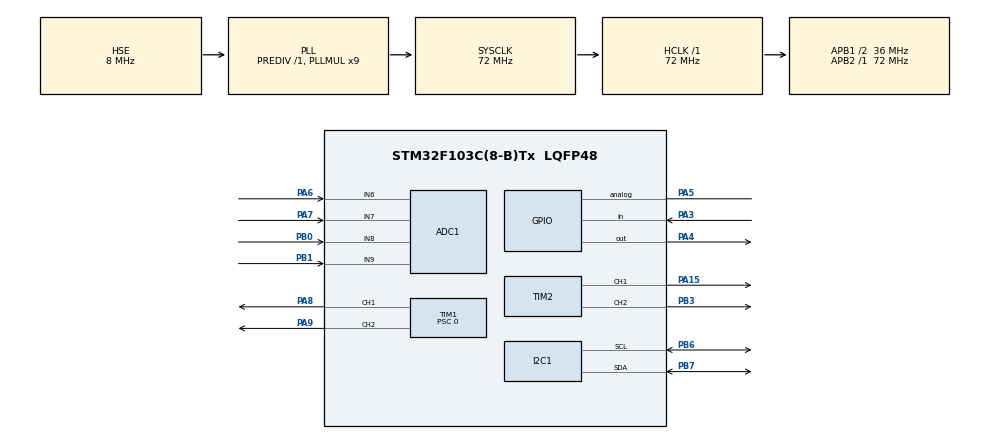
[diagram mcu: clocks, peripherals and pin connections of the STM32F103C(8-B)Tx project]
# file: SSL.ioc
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ADC1.Channel-1\#ChannelRegularConversion=ADC_CHANNEL_9
ADC1.Channel-2\#ChannelRegularConversion=ADC_CHANNEL_7
ADC1.Channel-3\#ChannelRegularConversion=ADC_CHANNEL_7
ADC1.ContinuousConvMode=ENABLE
ADC1.NbrOfConversion=3
ADC1.NbrOfConversionFlag=1
ADC1.Rank-1\#ChannelRegularConversion=1
ADC1.Rank-2\#ChannelRegularConversion=2
ADC1.Rank-3\#ChannelRegularConversion=3
ADC1.SamplingTime-1\#ChannelRegularConversion=ADC_SAMPLETIME_1CYCLE_5
ADC1.SamplingTime-2\#ChannelRegularConversion=ADC_SAMPLETIME_1CYCLE_5
ADC1.SamplingTime-3\#ChannelRegularConversion=ADC_SAMPLETIME_1CYCLE_5
ADC1.master=1
I2C1.GeneralCallMode=I2C_GENERALCALL_DISABLE
I2C1.NoStretchMode=I2C_NOSTRETCH_ENABLE
I2C1.OwnAddress=0
Mcu.Family=STM32F1
Mcu.Name=STM32F103C(8-B)Tx
Mcu.Package=LQFP48
NVIC.I2C1_ER_IRQn=true\:0\:0\:false\:false\:true\:true\:true\:true
NVIC.I2C1_EV_IRQn=true\:0\:0\:false\:false\:true\:true\:true\:true
NVIC.PriorityGroup=NVIC_PRIORITYGROUP_4
PA13.Mode=Serial_Wire
PA13.Signal=SYS_JTMS-SWDIO
PA14.Mode=Serial_Wire
PA14.Signal=SYS_JTCK-SWCLK
PA15.Signal=S_TIM2_CH1_ETR
PA3.Signal=GPIO_Input
PA4.Signal=GPIO_Output
PA5.Signal=GPIO_Analog
PA6.Signal=ADCx_IN6
PA7.Signal=ADCx_IN7
PA8.Signal=S_TIM1_CH1
PA9.Signal=S_TIM1_CH2
PB0.Signal=ADCx_IN8
PB1.Signal=ADCx_IN9
PB3.Signal=S_TIM2_CH2
PB6.Mode=I2C
PB6.Signal=I2C1_SCL
PB7.Mode=I2C
PB7.Signal=I2C1_SDA
PD0-OSC_IN.Mode=HSE-External-Oscillator
PD0-OSC_IN.Signal=RCC_OSC_IN
PD1-OSC_OUT.Mode=HSE-External-Oscillator
PD1-OSC_OUT.Signal=RCC_OSC_OUT
ProjectManager.HeapSize=0x200
ProjectManager.StackSize=0x400
ProjectManager.TargetToolchain=STM32CubeIDE
RCC.ADCPresc=RCC_ADCPCLK2_DIV6
RCC.AHBFreq_Value=72000000
RCC.APB1CLKDivider=RCC_HCLK_DIV2
RCC.APB1Freq_Value=36000000
RCC.APB1TimFreq_Value=72000000
RCC.APB2Freq_Value=72000000
RCC.APB2TimFreq_Value=72000000
RCC.HCLKFreq_Value=72000000
RCC.PLLMUL=RCC_PLL_MUL9
RCC.PLLSourceVirtual=RCC_PLLSOURCE_HSE
RCC.SYSCLKFreq_VALUE=72000000
RCC.SYSCLKSource=RCC_SYSCLKSOURCE_PLLCLK
RCC.USBFreq_Value=72000000
SH.ADCx_IN6.0=ADC1_IN6,IN6
SH.ADCx_IN7.0=ADC1_IN7,IN7
SH.ADCx_IN8.0=ADC1_IN8,IN8
SH.ADCx_IN9.0=ADC1_IN9,IN9
SH.S_TIM1_CH1.0=TIM1_CH1,PWM Generation1 CH1
SH.S_TIM1_CH2.0=TIM1_CH2,PWM Generation2 CH2
SH.S_TIM2_CH1_ETR.0=TIM2_CH1,PWM Generation1 CH1
SH.S_TIM2_CH2.0=TIM2_CH2,PWM Generation2 CH2
TIM1.AutoReloadPreload=TIM_AUTORELOAD_PRELOAD_ENABLE
TIM1.Channel-PWM\ Generation1\ CH1=TIM_CHANNEL_1
TIM1.Channel-PWM\ Generation2\ CH2=TIM_CHANNEL_2
TIM1.Prescaler=0
TIM2.Channel-PWM\ Generation1\ CH1=TIM_CHANNEL_1
TIM2.Channel-PWM\ Generation2\ CH2=TIM_CHANNEL_2
VP_TIM1_VS_ClockSourceINT.Mode=Internal
board=custom

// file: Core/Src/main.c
/* USER CODE BEGIN Header */
/**
  ******************************************************************************
  * @file           : main.c
  * @brief          : Main program body
  ******************************************************************************
  * @attention
  *
  * Copyright (c) 2025 STMicroelectronics.
  * All rights reserved.
  *
  * This software is licensed under terms that can be found in the LICENSE file
  * in the root directory of this software component.
  * If no LICENSE file comes with this software, it is provided AS-IS.
  *
  ******************************************************************************
  */
/* USER CODE END Header */
#include "main.h"

/* USER CODE BEGIN Includes */
#include "stdio.h"
#include "string.h"
/* USER CODE END Includes */

ADC_HandleTypeDef hadc1;

I2C_HandleTypeDef hi2c1;

TIM_HandleTypeDef htim1;
TIM_HandleTypeDef htim2;

/* USER CODE BEGIN PV */
uint16_t readValue;
uint8_t MSG[100];

float voltage_measured1, voltage_measured2, voltage_measured3, voltage_measured4;
float voltage1, voltage2, voltage3, voltage4;
float current;
float Input_votage_range = 3.3; //3.3v stm32
int ADC_range = 4093;

uint8_t data_20[20] = {};
uint8_t data_volt_1[4] = {1,2,3,4};
uint8_t data_volt_2[4] = {};
uint8_t data_volt_3[4] = {};
uint8_t data_volt_4[4] = {};

uint8_t current_uint8;

uint16_t i = 0, AD_RES[4];

/* USER CODE END PV */

void SystemClock_Config(void);
static void MX_GPIO_Init(void);
static void MX_ADC1_Init(void);
static void MX_I2C1_Init(void);
static void MX_TIM1_Init(void);
static void MX_TIM2_Init(void);
/* USER CODE BEGIN PFP */
void I2C1_EV_IRQHandler(void);
void float_to_bytes(float value, uint8_t data[4]);
void ReadAllADCChannels(void);
/* USER CODE END PFP */

/* USER CODE BEGIN 0 */

/* USER CODE BEGIN 0 */

// Function to read a specific ADC channel
uint16_t ReadSingleADCChannel(uint32_t channel)
{
    ADC_ChannelConfTypeDef sConfig = {0};
    uint16_t adcValue = 0;

    // Stop any ongoing conversion
    HAL_ADC_Stop(&hadc1);

    // Configure the channel
    sConfig.Channel = channel;
    sConfig.Rank = ADC_REGULAR_RANK_1;
    sConfig.SamplingTime = ADC_SAMPLETIME_55CYCLES_5; // Increased sampling time for better accuracy

    // Temporarily set to single channel mode
    hadc1.Init.NbrOfConversion = 1;
    hadc1.Init.ScanConvMode = ADC_SCAN_DISABLE;

    if (HAL_ADC_ConfigChannel(&hadc1, &sConfig) != HAL_OK)
    {
        Error_Handler();
    }

    // Start conversion
    if (HAL_ADC_Start(&hadc1) != HAL_OK)
    {
        Error_Handler();
    }

    // Wait for conversion to complete
    if (HAL_ADC_PollForConversion(&hadc1, 100) != HAL_OK)
    {
        Error_Handler();
    }

    // Get the value
    adcValue = HAL_ADC_GetValue(&hadc1);

    // Stop ADC
    HAL_ADC_Stop(&hadc1);

    return adcValue;
}

// Function to read all 3 channels separately
void ReadAllADCChannelsSeparately(void)
{
    // Read each channel individually
    AD_RES[0] = ReadSingleADCChannel(ADC_CHANNEL_6);
    HAL_Delay(1); // Small delay between readings

    AD_RES[1] = ReadSingleADCChannel(ADC_CHANNEL_7);
    HAL_Delay(1);

    AD_RES[2] = ReadSingleADCChannel(ADC_CHANNEL_8);
    HAL_Delay(1);

    AD_RES[3] = ReadSingleADCChannel(ADC_CHANNEL_9);

    // Process the readings
    ProcessADCReadings();
}

// Function to process ADC readings and convert to voltages/current
void ProcessADCReadings(void)
{
    // Convert ADC values to voltages
	voltage_measured1 = ((float)AD_RES[0] * Input_votage_range / ADC_range);
	HAL_Delay(1); // This delay matters.

	voltage_measured2 = ((float)AD_RES[1] * Input_votage_range / ADC_range);
	HAL_Delay(1);

	voltage_measured3 = ((float)AD_RES[2] * Input_votage_range / ADC_range);
	HAL_Delay(1);

	voltage_measured4 = ((float)AD_RES[3] * Input_votage_range / ADC_range);
	HAL_Delay(1);

    // Convert float values to byte arrays for transmission
    float_to_bytes(voltage_measured1, data_volt_1);
    float_to_bytes(voltage_measured2, data_volt_2);
    float_to_bytes(voltage_measured3, data_volt_3);
    float_to_bytes(voltage_measured4, data_volt_4);

    // Optional: Create a combined data packet
    CreateDataPacket();
}

// Function to create a data packet with all measurements
void CreateDataPacket(void)
{
    // Clear the data array
    memset(data_20, 0, sizeof(data_20));

    memcpy(&data_20[0], data_volt_1, 4);

    // Bytes 4-7: Voltage 2
    memcpy(&data_20[4], data_volt_2, 4);

    // Bytes 8-11: Voltage 3
    memcpy(&data_20[8], data_volt_3, 4);

    // Bytes 12-15: Voltage 4
    memcpy(&data_20[12], data_volt_4, 4);

    // Bytes 16-19: Additional data or checksum
    uint32_t timestamp = HAL_GetTick(); // Use system tick as timestamp
    data_20[16] = (uint8_t)(timestamp & 0xFF);
    data_20[17] = (uint8_t)((timestamp >> 8) & 0xFF);
    data_20[18] = (uint8_t)((timestamp >> 16) & 0xFF);
    data_20[19] = (uint8_t)((timestamp >> 24) & 0xFF);
}

void float_to_bytes(float value, uint8_t data[4])
{
    /* Use a union to access the bytes of the float */
    union {
        float float_value;
        uint8_t bytes[4];
    } converter;

    /* Store the float in the union */
    converter.float_value = value;

    /* Copy the bytes to the output array (assuming little-endian) */
    data[0] = converter.bytes[0];
    data[1] = converter.bytes[1];
    data[2] = converter.bytes[2];
    data[3] = converter.bytes[3];
}
/* USER CODE END 0 */

int main(void)
{

  /* MCU Configuration--------------------------------------------------------*/

  /* Reset of all peripherals, Initializes the Flash interface and the Systick. */
  HAL_Init();

  /* Configure the system clock */
  SystemClock_Config();

  /* Initialize all configured peripherals */
  MX_GPIO_Init();
  MX_ADC1_Init();
  MX_I2C1_Init();
  MX_TIM1_Init();
  MX_TIM2_Init();
  /* USER CODE BEGIN 2 */

  HAL_TIM_PWM_Start(&htim1, TIM_CHANNEL_1);
  HAL_I2C_Init(&hi2c1);

  /* USER CODE END 2 */

  /* Infinite loop */
  while (1)
  {
	ReadAllADCChannelsSeparately();
	HAL_Delay(1); // Read every 100ms
	HAL_I2C_Slave_Transmit(&hi2c1, data_20, 20, 5);
  }
}

void SystemClock_Config(void)
{
  RCC_OscInitTypeDef RCC_OscInitStruct = {0};
  RCC_ClkInitTypeDef RCC_ClkInitStruct = {0};
  RCC_PeriphCLKInitTypeDef PeriphClkInit = {0};

  /** Initializes the RCC Oscillators according to the specified parameters
  * in the RCC_OscInitTypeDef structure.
  */
  RCC_OscInitStruct.OscillatorType = RCC_OSCILLATORTYPE_HSE;
  RCC_OscInitStruct.HSEState = RCC_HSE_ON;
  RCC_OscInitStruct.HSEPredivValue = RCC_HSE_PREDIV_DIV1;
  RCC_OscInitStruct.HSIState = RCC_HSI_ON;
  RCC_OscInitStruct.PLL.PLLState = RCC_PLL_ON;
  RCC_OscInitStruct.PLL.PLLSource = RCC_PLLSOURCE_HSE;
  RCC_OscInitStruct.PLL.PLLMUL = RCC_PLL_MUL9;
  if (HAL_RCC_OscConfig(&RCC_OscInitStruct) != HAL_OK)
  {
    Error_Handler();
  }

  /** Initializes the CPU, AHB and APB buses clocks
  */
  RCC_ClkInitStruct.ClockType = RCC_CLOCKTYPE_HCLK|RCC_CLOCKTYPE_SYSCLK
                              |RCC_CLOCKTYPE_PCLK1|RCC_CLOCKTYPE_PCLK2;
  RCC_ClkInitStruct.SYSCLKSource = RCC_SYSCLKSOURCE_PLLCLK;
  RCC_ClkInitStruct.AHBCLKDivider = RCC_SYSCLK_DIV1;
  RCC_ClkInitStruct.APB1CLKDivider = RCC_HCLK_DIV2;
  RCC_ClkInitStruct.APB2CLKDivider = RCC_HCLK_DIV1;

  if (HAL_RCC_ClockConfig(&RCC_ClkInitStruct, FLASH_LATENCY_2) != HAL_OK)
  {
    Error_Handler();
  }
  PeriphClkInit.PeriphClockSelection = RCC_PERIPHCLK_ADC;
  PeriphClkInit.AdcClockSelection = RCC_ADCPCLK2_DIV6;
  if (HAL_RCCEx_PeriphCLKConfig(&PeriphClkInit) != HAL_OK)
  {
    Error_Handler();
  }
}

static void MX_ADC1_Init(void)
{

  ADC_ChannelConfTypeDef sConfig = {0};

  /** Common config
  */
  hadc1.Instance = ADC1;
  hadc1.Init.ScanConvMode = ADC_SCAN_ENABLE;
  hadc1.Init.ContinuousConvMode = ENABLE;
  hadc1.Init.DiscontinuousConvMode = DISABLE;
  hadc1.Init.ExternalTrigConv = ADC_SOFTWARE_START;
  hadc1.Init.DataAlign = ADC_DATAALIGN_RIGHT;
  hadc1.Init.NbrOfConversion = 3;
  if (HAL_ADC_Init(&hadc1) != HAL_OK)
  {
    Error_Handler();
  }

  /** Configure Regular Channel
  */
  sConfig.Channel = ADC_CHANNEL_9;
  sConfig.Rank = ADC_REGULAR_RANK_1;
  sConfig.SamplingTime = ADC_SAMPLETIME_1CYCLE_5;
  if (HAL_ADC_ConfigChannel(&hadc1, &sConfig) != HAL_OK)
  {
    Error_Handler();
  }

  /** Configure Regular Channel
  */
  sConfig.Channel = ADC_CHANNEL_7;
  sConfig.Rank = ADC_REGULAR_RANK_2;
  if (HAL_ADC_ConfigChannel(&hadc1, &sConfig) != HAL_OK)
  {
    Error_Handler();
  }

  /** Configure Regular Channel
  */
  sConfig.Rank = ADC_REGULAR_RANK_3;
  if (HAL_ADC_ConfigChannel(&hadc1, &sConfig) != HAL_OK)
  {
    Error_Handler();
  }

}

static void MX_I2C1_Init(void)
{

  hi2c1.Instance = I2C1;
  hi2c1.Init.ClockSpeed = 100000;
  hi2c1.Init.DutyCycle = I2C_DUTYCYCLE_2;
  hi2c1.Init.OwnAddress1 = 0x08 << 1;
  hi2c1.Init.AddressingMode = I2C_ADDRESSINGMODE_7BIT;
  hi2c1.Init.DualAddressMode = I2C_DUALADDRESS_DISABLE;
  hi2c1.Init.OwnAddress2 = 0;
  hi2c1.Init.GeneralCallMode = I2C_GENERALCALL_DISABLE;
  hi2c1.Init.NoStretchMode = I2C_NOSTRETCH_ENABLE;
  if (HAL_I2C_Init(&hi2c1) != HAL_OK)
  {
    Error_Handler();
  }
  /* USER CODE BEGIN I2C1_Init 2 */
	void HAL_I2C_AddrCallback(I2C_HandleTypeDef *hi2c, uint8_t TransferDirection, uint16_t AddrMatchCode)
	{
	}

  /* USER CODE END I2C1_Init 2 */

}

static void MX_TIM1_Init(void)
{

  TIM_ClockConfigTypeDef sClockSourceConfig = {0};
  TIM_MasterConfigTypeDef sMasterConfig = {0};
  TIM_OC_InitTypeDef sConfigOC = {0};
  TIM_BreakDeadTimeConfigTypeDef sBreakDeadTimeConfig = {0};

  htim1.Instance = TIM1;
  htim1.Init.Prescaler = 0;
  htim1.Init.CounterMode = TIM_COUNTERMODE_UP;
  htim1.Init.Period = 65535;
  htim1.Init.ClockDivision = TIM_CLOCKDIVISION_DIV1;
  htim1.Init.RepetitionCounter = 0;
  htim1.Init.AutoReloadPreload = TIM_AUTORELOAD_PRELOAD_ENABLE;
  if (HAL_TIM_Base_Init(&htim1) != HAL_OK)
  {
    Error_Handler();
  }
  sClockSourceConfig.ClockSource = TIM_CLOCKSOURCE_INTERNAL;
  if (HAL_TIM_ConfigClockSource(&htim1, &sClockSourceConfig) != HAL_OK)
  {
    Error_Handler();
  }
  if (HAL_TIM_PWM_Init(&htim1) != HAL_OK)
  {
    Error_Handler();
  }
  sMasterConfig.MasterOutputTrigger = TIM_TRGO_RESET;
  sMasterConfig.MasterSlaveMode = TIM_MASTERSLAVEMODE_DISABLE;
  if (HAL_TIMEx_MasterConfigSynchronization(&htim1, &sMasterConfig) != HAL_OK)
  {
    Error_Handler();
  }
  sConfigOC.OCMode = TIM_OCMODE_PWM1;
  sConfigOC.Pulse = 0;
  sConfigOC.OCPolarity = TIM_OCPOLARITY_HIGH;
  sConfigOC.OCNPolarity = TIM_OCNPOLARITY_HIGH;
  sConfigOC.OCFastMode = TIM_OCFAST_DISABLE;
  sConfigOC.OCIdleState = TIM_OCIDLESTATE_RESET;
  sConfigOC.OCNIdleState = TIM_OCNIDLESTATE_RESET;
  if (HAL_TIM_PWM_ConfigChannel(&htim1, &sConfigOC, TIM_CHANNEL_1) != HAL_OK)
  {
    Error_Handler();
  }
  if (HAL_TIM_PWM_ConfigChannel(&htim1, &sConfigOC, TIM_CHANNEL_2) != HAL_OK)
  {
    Error_Handler();
  }
  sBreakDeadTimeConfig.OffStateRunMode = TIM_OSSR_DISABLE;
  sBreakDeadTimeConfig.OffStateIDLEMode = TIM_OSSI_DISABLE;
  sBreakDeadTimeConfig.LockLevel = TIM_LOCKLEVEL_OFF;
  sBreakDeadTimeConfig.DeadTime = 0;
  sBreakDeadTimeConfig.BreakState = TIM_BREAK_DISABLE;
  sBreakDeadTimeConfig.BreakPolarity = TIM_BREAKPOLARITY_HIGH;
  sBreakDeadTimeConfig.AutomaticOutput = TIM_AUTOMATICOUTPUT_DISABLE;
  if (HAL_TIMEx_ConfigBreakDeadTime(&htim1, &sBreakDeadTimeConfig) != HAL_OK)
  {
    Error_Handler();
  }
  HAL_TIM_MspPostInit(&htim1);

}

static void MX_TIM2_Init(void)
{

  TIM_MasterConfigTypeDef sMasterConfig = {0};
  TIM_OC_InitTypeDef sConfigOC = {0};

  htim2.Instance = TIM2;
  htim2.Init.Prescaler = 0;
  htim2.Init.CounterMode = TIM_COUNTERMODE_UP;
  htim2.Init.Period = 65535;
  htim2.Init.ClockDivision = TIM_CLOCKDIVISION_DIV1;
  htim2.Init.AutoReloadPreload = TIM_AUTORELOAD_PRELOAD_DISABLE;
  if (HAL_TIM_PWM_Init(&htim2) != HAL_OK)
  {
    Error_Handler();
  }
  sMasterConfig.MasterOutputTrigger = TIM_TRGO_RESET;
  sMasterConfig.MasterSlaveMode = TIM_MASTERSLAVEMODE_DISABLE;
  if (HAL_TIMEx_MasterConfigSynchronization(&htim2, &sMasterConfig) != HAL_OK)
  {
    Error_Handler();
  }
  sConfigOC.OCMode = TIM_OCMODE_PWM1;
  sConfigOC.Pulse = 0;
  sConfigOC.OCPolarity = TIM_OCPOLARITY_HIGH;
  sConfigOC.OCFastMode = TIM_OCFAST_DISABLE;
  if (HAL_TIM_PWM_ConfigChannel(&htim2, &sConfigOC, TIM_CHANNEL_1) != HAL_OK)
  {
    Error_Handler();
  }
  if (HAL_TIM_PWM_ConfigChannel(&htim2, &sConfigOC, TIM_CHANNEL_2) != HAL_OK)
  {
    Error_Handler();
  }
  HAL_TIM_MspPostInit(&htim2);

}

static void MX_GPIO_Init(void)
{
  GPIO_InitTypeDef GPIO_InitStruct = {0};

  /* GPIO Ports Clock Enable */
  __HAL_RCC_GPIOD_CLK_ENABLE();
  __HAL_RCC_GPIOA_CLK_ENABLE();
  __HAL_RCC_GPIOB_CLK_ENABLE();

  /*Configure GPIO pin Output Level */
  HAL_GPIO_WritePin(GPIOA, GPIO_PIN_4, GPIO_PIN_RESET);

  /*Configure GPIO pin : PA3 */
  GPIO_InitStruct.Pin = GPIO_PIN_3;
  GPIO_InitStruct.Mode = GPIO_MODE_INPUT;
  GPIO_InitStruct.Pull = GPIO_NOPULL;
  HAL_GPIO_Init(GPIOA, &GPIO_InitStruct);

  /*Configure GPIO pin : PA4 */
  GPIO_InitStruct.Pin = GPIO_PIN_4;
  GPIO_InitStruct.Mode = GPIO_MODE_OUTPUT_PP;
  GPIO_InitStruct.Pull = GPIO_NOPULL;
  GPIO_InitStruct.Speed = GPIO_SPEED_FREQ_LOW;
  HAL_GPIO_Init(GPIOA, &GPIO_InitStruct);

  /*Configure GPIO pin : PA5 */
  GPIO_InitStruct.Pin = GPIO_PIN_5;
  GPIO_InitStruct.Mode = GPIO_MODE_ANALOG;
  HAL_GPIO_Init(GPIOA, &GPIO_InitStruct);

}

void Error_Handler(void)
{
  __disable_irq();
  while (1)
  {
  }
}
